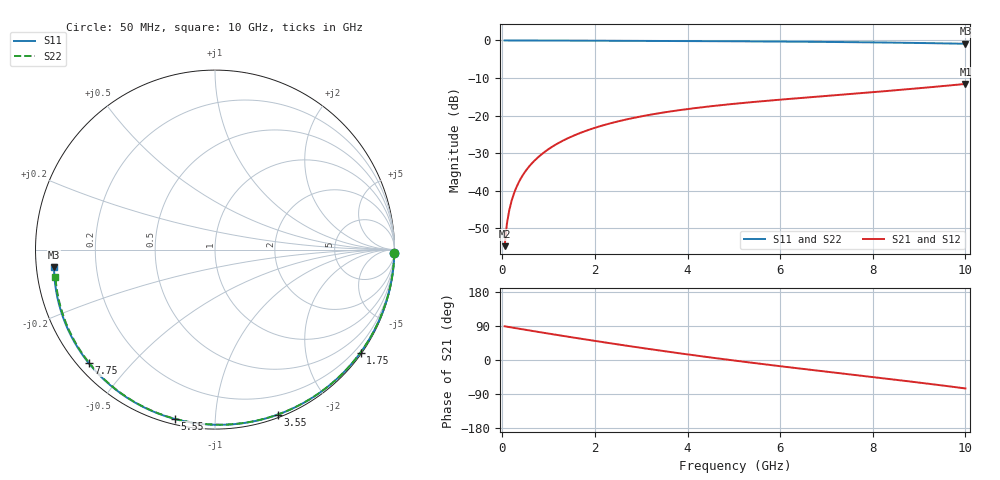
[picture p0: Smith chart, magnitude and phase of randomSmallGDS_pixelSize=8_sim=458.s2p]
! freq	dB(S11)	phase(S11)	dB(S12)	phase(S12)
!  dB(S21)	phase(S21)	dB(S22)	phase(S22)
!S-par simulation data
#  GHz  S  DB  R 50
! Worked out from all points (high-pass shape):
!   200 points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, 50 MHz to 10 GHz, reference 50 ohm
!   highest |S21| = -11.59 dB at 10 GHz (marker M1); lowest = -54.8 dB at 50 MHz (marker M2)
!   |S21| within 3 dB of the highest: 7.187 GHz to end of sweep
!   lowest |S11| = -0.9 dB at 10 GHz (marker M3), VSWR 19.49, Z = 2.57 - j2.73 ohm
!   |S11| at or under -10 dB: nowhere
!   |S22| runs from -0.9 to 0.0 dB; largest |S21 - S12| = 0
!   S11 on the Smith chart (normalised r, x): 50 MHz: open; 1.75 GHz: 0.04, -3.14; 3.55 GHz: 0.03, -1.45; 5.55 GHz: 0.02, -0.79; 7.75 GHz: 0.03, -0.38; 10 GHz: 0.05, -0.05
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0.05  -0.01 -1.0  -54.76 89.0  -54.76 89.0  -0.01 -1.0
0.1  -0.01 -2.1  -48.74 87.9  -48.74 87.9  -0.01 -2.0
0.15  -0.01 -3.1  -45.22 86.9  -45.22 86.9  -0.01 -3.0
0.2  -0.01 -4.1  -42.73 85.8  -42.73 85.8  -0.01 -4.0
0.25  -0.01 -5.1  -40.80 84.8  -40.80 84.8  -0.01 -5.0
0.35  -0.01 -7.2  -37.89 82.7  -37.89 82.7  -0.01 -6.9
0.5  -0.01 -10.2  -34.82 79.6  -34.82 79.6  -0.01 -9.9
0.7  -0.02 -14.3  -31.94 75.6  -31.94 75.6  -0.02 -13.8
1  -0.03 -20.4  -28.92 69.7  -28.92 69.7  -0.03 -19.7
1.35  -0.04 -27.4  -26.42 62.8  -26.42 62.8  -0.04 -26.5
1.75  -0.06 -35.3  -24.31 55.1  -24.31 55.1  -0.06 -34.1
2.6  -0.10 -51.6  -21.25 39.2  -21.25 39.2  -0.10 -50.0
3.4  -0.14 -66.5  -19.34 25.0  -19.34 25.0  -0.13 -64.4
3.55  -0.14 -69.2  -19.05 22.4  -19.05 22.4  -0.14 -67.0
4.3  -0.18 -82.4  -17.81 9.9  -17.81 9.9  -0.18 -79.9
5.05  -0.23 -95.1  -16.82 -2.1  -16.82 -2.1  -0.23 -92.4
5.55  -0.27 -103.3  -16.24 -9.7  -16.24 -9.7  -0.26 -100.5
6.7  -0.36 -121.6  -15.07 -26.5  -15.07 -26.5  -0.36 -118.5
7.75  -0.48 -138.0  -14.03 -41.4  -14.03 -41.4  -0.48 -134.7
8.35  -0.57 -147.3  -13.41 -50.1  -13.41 -50.1  -0.56 -143.9
9.2  -0.72 -160.7  -12.50 -62.6  -12.50 -62.6  -0.71 -157.2
10  -0.89 -173.7  -11.59 -75.1  -11.59 -75.1  -0.89 -170.1
